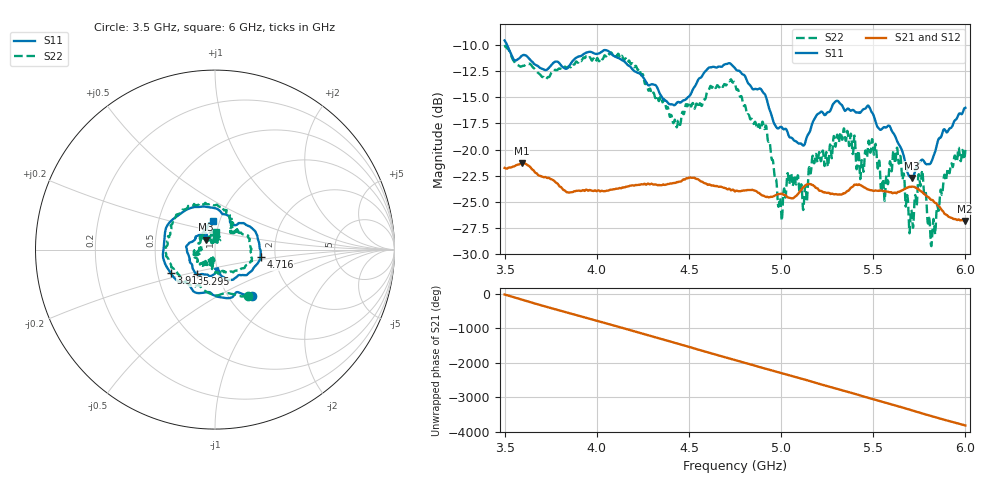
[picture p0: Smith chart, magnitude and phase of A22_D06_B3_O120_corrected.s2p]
! Created with skrf 1.9.0 (http://scikit-rf.org).
# Hz S RI R 50.0
!freq ReS11 ImS11 ReS21 ImS21 ReS12 ImS12 ReS22 ImS22
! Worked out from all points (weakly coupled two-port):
!   1601 points, 3.5 GHz to 6 GHz, reference 50 ohm
!   highest |S21| = -21.32 dB at 3.592 GHz (marker M1); lowest = -26.8 dB at 5.998 GHz (marker M2)
!   lowest |S11| = -22.7 dB at 5.711 GHz (marker M3), VSWR 1.16, Z = 45.1 + j4.96 ohm
!   |S11| at or under -10 dB: 3.513 GHz to end of sweep
!   |S22| runs from -29.2 to -10.0 dB; largest |S21 - S12| = 0.00094
!   S11 on the Smith chart (normalised r, x): 3.5 GHz: 1.28, -0.74; 3.913 GHz: 0.59, -0.17; 4.716 GHz: 1.67, -0.15; 5.295 GHz: 0.79, -0.22; 6 GHz: 0.93, +0.30
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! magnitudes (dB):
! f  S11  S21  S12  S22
! 3.5 GHz  -9.6  -21.8  -21.7  -10.0
! 3.592 GHz  -11.1  -21.3  -21.3  -12.1
! 3.913 GHz  -11.1  -24.0  -23.9  -11.5
! 3.917 GHz  -11.1  -23.9  -23.9  -11.5
! 4.334 GHz  -14.4  -23.4  -23.3  -15.3
! 4.442 GHz  -15.5  -23.1  -23.0  -17.2
! 4.716 GHz  -11.8  -23.8  -23.8  -13.5
! 4.75 GHz  -12.2  -24.0  -23.9  -13.7
! 4.911 GHz  -14.7  -24.5  -24.4  -18.0
! 4.995 GHz  -17.8  -24.2  -24.2  -24.6
! 5.045 GHz  -18.8  -24.6  -24.6  -23.2
! 5.13 GHz  -19.4  -23.5  -23.4  -23.6
! 5.167 GHz  -17.6  -23.4  -23.3  -21.1
! 5.295 GHz  -15.4  -24.3  -24.2  -19.7
! 5.584 GHz  -17.7  -24.0  -24.0  -22.4
! 5.638 GHz  -19.5  -24.0  -24.0  -21.2
! 5.711 GHz  -22.7  -23.5  -23.5  -26.4
! 5.758 GHz  -21.1  -24.0  -23.9  -23.3
! 5.823 GHz  -20.8  -24.8  -24.8  -27.1
! 5.894 GHz  -18.3  -26.2  -26.1  -23.0
! 5.998 GHz  -16.0  -26.8  -26.7  -20.4
! 6 GHz  -16.0  -26.8  -26.7  -20.0
